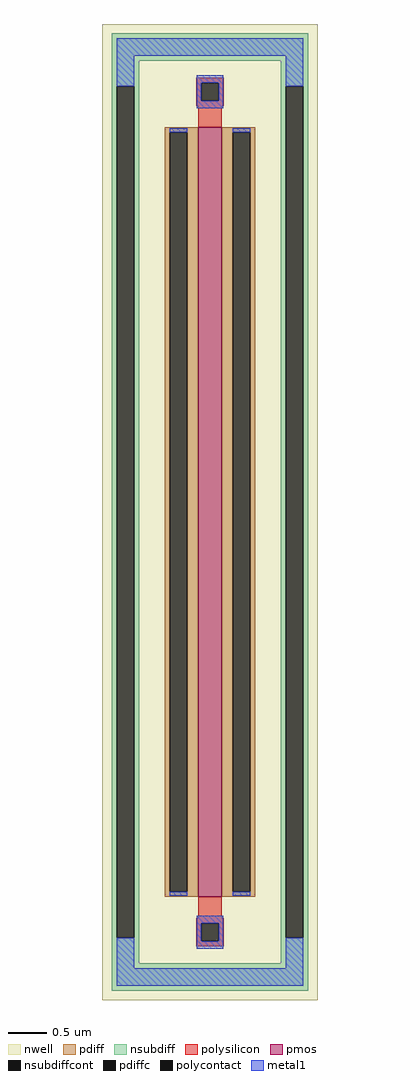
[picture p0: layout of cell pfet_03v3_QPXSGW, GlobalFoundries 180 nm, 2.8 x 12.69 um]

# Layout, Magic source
magic
tech gf180mcuD
magscale 1 10
<< nwell >>
rect -280 -1269 280 1269
<< pmos >>
rect -30 -1000 30 1000
<< pdiff >>
rect -118 987 -30 1000
rect -118 -987 -105 987
rect -59 -987 -30 987
rect -118 -1000 -30 -987
rect 30 987 118 1000
rect 30 -987 59 987
rect 105 -987 118 987
rect 30 -1000 118 -987
<< pdiffc >>
rect -105 -987 -59 987
rect 59 -987 105 987
<< nsubdiff >>
rect -256 1173 256 1245
rect -256 1107 -184 1173
rect -256 -1107 -243 1107
rect -197 -1107 -184 1107
rect 184 1107 256 1173
rect -256 -1173 -184 -1107
rect 184 -1107 197 1107
rect 243 -1107 256 1107
rect 184 -1173 256 -1107
rect -256 -1245 256 -1173
<< nsubdiffcont >>
rect -243 -1107 -197 1107
rect 197 -1107 243 1107
<< polysilicon >>
rect -36 1116 36 1129
rect -36 1070 -23 1116
rect 23 1070 36 1116
rect -36 1057 36 1070
rect -30 1000 30 1057
rect -30 -1057 30 -1000
rect -36 -1070 36 -1057
rect -36 -1116 -23 -1070
rect 23 -1116 36 -1070
rect -36 -1129 36 -1116
<< polycontact >>
rect -23 1070 23 1116
rect -23 -1116 23 -1070
<< metal1 >>
rect -243 1186 243 1232
rect -243 1107 -197 1186
rect -34 1116 34 1136
rect -34 1070 -23 1116
rect 23 1070 34 1116
rect -34 1050 34 1070
rect 197 1107 243 1186
rect -105 987 -59 998
rect -105 -998 -59 -987
rect 59 987 105 998
rect 59 -998 105 -987
rect -243 -1186 -197 -1107
rect -34 -1070 34 -1050
rect -34 -1116 -23 -1070
rect 23 -1116 34 -1070
rect -34 -1136 34 -1116
rect 197 -1186 243 -1107
rect -243 -1232 243 -1186
<< properties >>
string FIXED_BBOX -220 -1150 220 1150
string gencell pfet_03v3
string library gf180mcu
string parameters w 10 l 0.3 m 1 nf 1 diffcov 100 polycov 100 guard 1 glc 1 grc 1 gtc 0 gbc 0 tbcov 100 rlcov 100 topc 1 botc 1 poverlap 0 doverlap 1 lmin 0.28 wmin 0.22 class mosfet full_metal 1 compatible {pfet_03v3 pfet_05v0 pfet_06v0}
<< end >>
